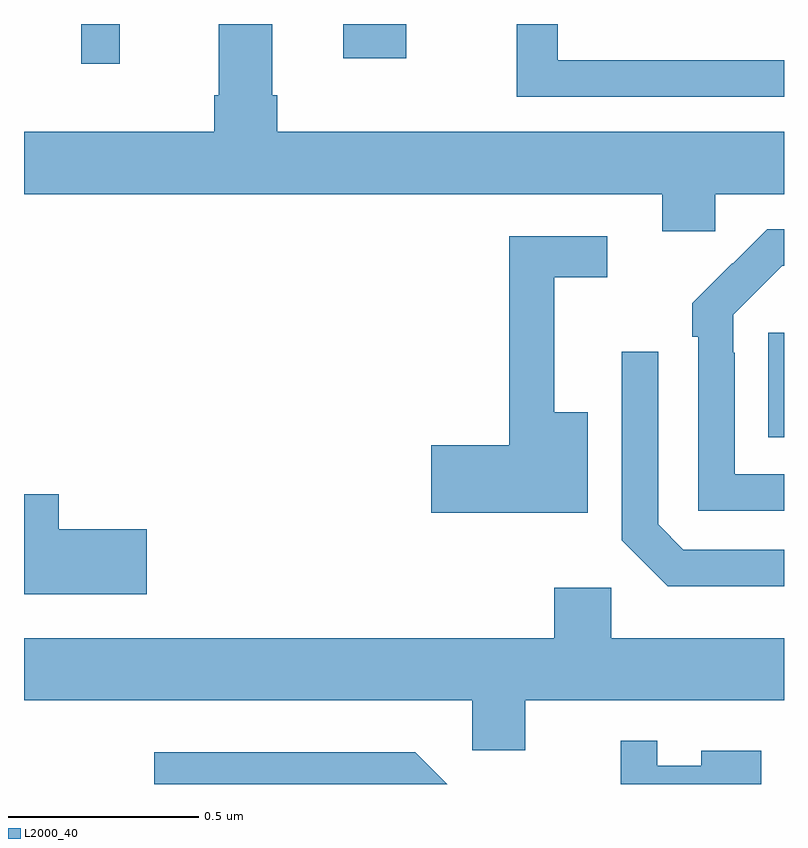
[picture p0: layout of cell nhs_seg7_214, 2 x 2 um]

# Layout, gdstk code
import gdstk
lib = gdstk.Library(unit=1e-6, precision=1e-09)
def R(c, l, rs):  # rectangles x0, y0, x1, y1
    for r in rs: c.add(gdstk.rectangle(r[:2], r[2:], *l))
def P(c, l, *ps):  # polygons
    for p in ps: c.add(gdstk.Polygon(p, *l))
L2000_40 = (2000, 40)

nhs_seg7_214 = lib.new_cell('nhs_seg7_214')
R(nhs_seg7_214, L2000_40, [(114.959,1063.913,115,1064.188), (113.15,1064.895,113.252,1065), (113.84,1064.91,114.006,1065)])
P(nhs_seg7_214, L2000_40, [(114.819,1064.552),(115,1064.552),(115,1064.716),(113.666,1064.716),(113.666,1064.812),(113.653,1064.812),(113.653,1065),(113.513,1065),(113.513,1064.812),(113.501,1064.812),(113.501,1064.716),(113,1064.716),(113,1064.552),(114.68,1064.552),(114.68,1064.454),(114.819,1064.454)],
  [(115,1064.904),(114.405,1064.904),(114.405,1065),(114.297,1065),(114.297,1064.808),(115,1064.808)],
  [(115,1063.815),(114.87,1063.815),(114.87,1064.135),(114.867,1064.135),(114.867,1064.235),(114.996,1064.364),(115,1064.364),(115,1064.46),(114.956,1064.46),(114.865,1064.369),(114.864,1064.37),(114.759,1064.265),(114.759,1064.177),(114.774,1064.177),(114.774,1063.719),(115,1063.719)],
  [(114.484,1063.978),(114.395,1063.978),(114.395,1064.334),(114.535,1064.334),(114.535,1064.442),(114.277,1064.442),(114.277,1063.892),(114.072,1063.892),(114.072,1063.714),(114.484,1063.714)],
  [(115,1063.617),(114.735,1063.617),(114.669,1063.683),(114.669,1064.137),(114.573,1064.137),(114.573,1063.641),(114.694,1063.52),(115,1063.52)],
  [(113.323,1063.67),(113.092,1063.67),(113.092,1063.762),(113,1063.762),(113,1063.499),(113.323,1063.499)],
  [(114.319,1063.22),(115,1063.22),(115,1063.384),(114.546,1063.384),(114.546,1063.516),(114.395,1063.516),(114.395,1063.384),(113,1063.384),(113,1063.22),(114.18,1063.22),(114.18,1063.089),(114.319,1063.089)],
  [(114.94,1063.087),(114.782,1063.087),(114.782,1063.048),(114.666,1063.048),(114.666,1063.114),(114.57,1063.114),(114.57,1063),(114.94,1063)],
  [(114.03,1063.084),(113.343,1063.084),(113.343,1063),(114.114,1063)])

lib.write_gds('nhs_seg7_214.gds')
